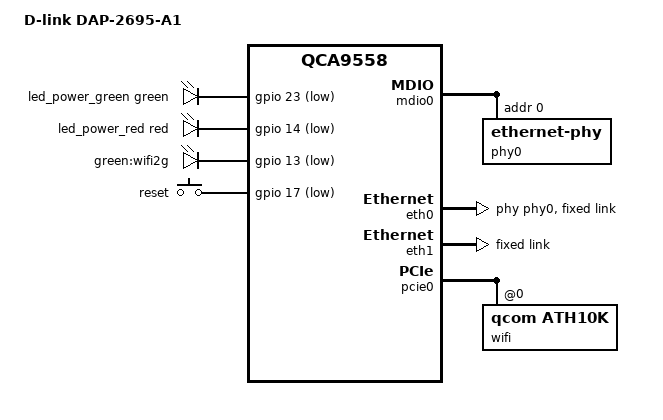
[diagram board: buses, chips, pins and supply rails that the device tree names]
// SPDX-License-Identifier: GPL-2.0-or-later OR MIT

#include <dt-bindings/leds/common.h>

#include "qca955x_dlink_dap-2xxx.dtsi"

/ {
	compatible = "dlink,dap-2695-a1", "qca,qca9558";
	model = "D-link DAP-2695-A1";

	aliases {
		led-boot = &led_power_red;
		led-failsafe = &led_power_red;
		led-running = &led_power_green;
		led-upgrade = &led_power_red;
	};

	leds {
		compatible = "gpio-leds";

		led_power_green: power_green {
			function = LED_FUNCTION_POWER;
			color = <LED_COLOR_ID_GREEN>;
			gpios = <&gpio 23 GPIO_ACTIVE_LOW>;
			default-state = "on";
		};

		led_power_red: power_red {
			function = LED_FUNCTION_POWER;
			color = <LED_COLOR_ID_RED>;
			gpios = <&gpio 14 GPIO_ACTIVE_LOW>;
		};

		wifi2g {
			label = "green:wifi2g";
			gpios = <&gpio 13 GPIO_ACTIVE_LOW>;
			linux,default-trigger = "phy1tpt";
		};
	};

	keys {
		compatible = "gpio-keys";

		reset {
			label = "reset";
			linux,code = <KEY_RESTART>;
			gpios = <&gpio 17 GPIO_ACTIVE_LOW>;
		};
	};
};

&partitions {
	partition@70000 {
		label = "firmware";
		reg = <0x070000 0xf00000>;
		compatible = "wrg";
	};

	partition@f70000 {
		label = "captival";
		reg = <0xf70000 0x070000>;
		read-only;
	};

	partition@fe0000 {
		label = "certificate";
		reg = <0xfe0000 0x010000>;
		read-only;
	};
};

&mdio0 {
	status = "okay";

	phy0: ethernet-phy@0 {
		reg = <0>;

		qca,ar8327-initvals = <
			0x04 0x07600000 /* PORT0_PAD_CTRL */
			0x0c 0x00080080 /* PORT6_PAD_CTRL */
			0x7c 0x0000007e /* PORT0_STATUS */
			0x94 0x0000007e /* PORT6_STATUS */
		>;
	};
};

&eth0 {
	status = "okay";

	phy-handle = <&phy0>;
	pll-data = <0x56000000 0x00000101 0x00001616>;

	fixed-link {
		speed = <1000>;
		full-duplex;
	};
};

&eth1 {
	status = "okay";

	pll-data = <0x03000101 0x00000101 0x00001616>;

	fixed-link {
		speed = <1000>;
		full-duplex;
	};
};

&pcie0 {
	status = "okay";

	wifi@0,0 {
		compatible = "qcom,ath10k";
		reg = <0 0 0 0 0>;

		nvmem-cells = <&cal_ath10k>;
		nvmem-cell-names = "calibration";
	};
};

&art {
	nvmem-layout {
		compatible = "fixed-layout";
		#address-cells = <1>;
		#size-cells = <1>;

		cal_ath9k: calibration@1000 {
			reg = <0x1000 0x440>;
		};

		cal_ath10k: calibration@5000 {
			reg = <0x5000 0x844>;
		};
	};
};
